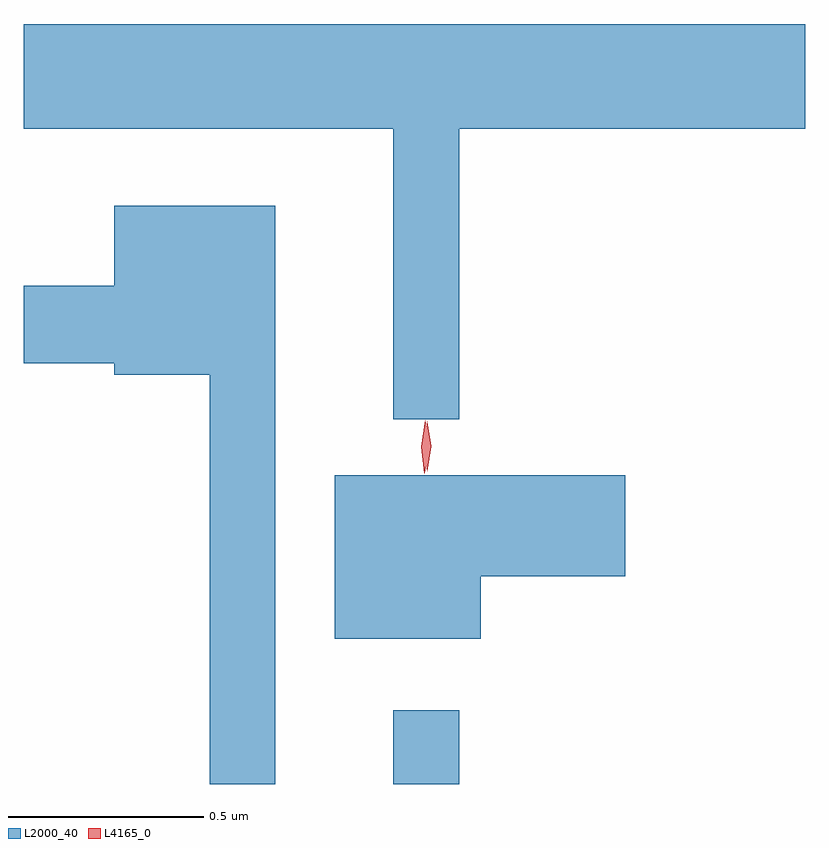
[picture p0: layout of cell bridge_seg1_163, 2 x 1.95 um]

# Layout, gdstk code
import gdstk
lib = gdstk.Library(unit=1e-6, precision=1e-09)
def R(c, l, rs):  # rectangles x0, y0, x1, y1
    for r in rs: c.add(gdstk.rectangle(r[:2], r[2:], *l))
def P(c, l, *ps):  # polygons
    for p in ps: c.add(gdstk.Polygon(p, *l))
L2000_40 = (2000, 40)
L4165_0 = (4165, 0)

bridge_seg1_163 = lib.new_cell('bridge_seg1_163')
R(bridge_seg1_163, L2000_40, [(688.871,935.639,689.039,935.828)])
P(bridge_seg1_163, L2000_40, [(689.039,937.316),(689.925,937.316),(689.925,937.584),(687.925,937.584),(687.925,937.316),(688.871,937.316),(688.871,936.573),(689.039,936.573)],
  [(688.569,937.119),(688.156,937.119),(688.156,936.914),(687.925,936.914),(687.925,936.716),(688.156,936.716),(688.156,936.686),(688.401,936.686),(688.401,935.639),(688.569,935.639)],
  [(689.094,936.171),(689.464,936.171),(689.464,936.429),(688.721,936.429),(688.721,936.011),(689.094,936.011)])
P(bridge_seg1_163, L4165_0, [(688.95,936.434),(688.942,936.502),(688.952,936.57),(688.952,936.57),(688.953,936.57),(688.962,936.502),(688.951,936.434),(688.951,936.434)],
  [(688.957,936.44),(688.948,936.503),(688.957,936.566),(688.958,936.567),(688.958,936.566),(688.968,936.503),(688.958,936.44),(688.958,936.44)])

lib.write_gds('bridge_seg1_163.gds')
